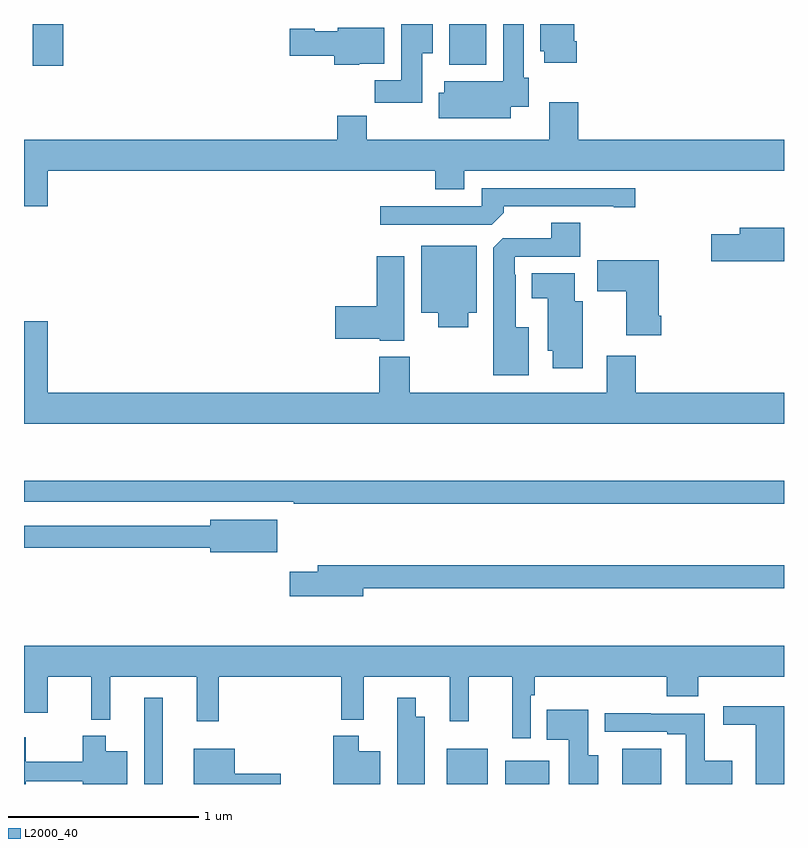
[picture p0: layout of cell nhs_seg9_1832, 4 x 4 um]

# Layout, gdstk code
import gdstk
lib = gdstk.Library(unit=1e-6, precision=1e-09)
def R(c, l, rs):  # rectangles x0, y0, x1, y1
    for r in rs: c.add(gdstk.rectangle(r[:2], r[2:], *l))
def P(c, l, *ps):  # polygons
    for p in ps: c.add(gdstk.Polygon(p, *l))
L2000_40 = (2000, 40)

nhs_seg9_1832 = lib.new_cell('nhs_seg9_1832')
R(nhs_seg9_1832, L2000_40, [(213.633,1218.5,213.73,1218.955), (215.225,1218.5,215.44,1218.685), (215.534,1218.5,215.764,1218.622), (216.149,1218.5,216.355,1218.685), (213.046,1222.281,213.206,1222.5), (215.237,1222.286,215.434,1222.5)])
P(nhs_seg9_1832, L2000_40, [(215.909,1222.408),(215.896,1222.408),(215.896,1222.5),(215.717,1222.5),(215.717,1222.356),(215.738,1222.356),(215.738,1222.296),(215.909,1222.296)],
  [(215.095,1222.345),(215.152,1222.345),(215.152,1222.5),(214.985,1222.5),(214.985,1222.204),(214.846,1222.204),(214.846,1222.086),(215.095,1222.086)],
  [(215.563,1222.064),(215.656,1222.064),(215.656,1222.218),(215.629,1222.218),(215.629,1222.5),(215.522,1222.5),(215.522,1222.198),(215.213,1222.198),(215.213,1222.139),(215.183,1222.139),(215.183,1222.004),(215.563,1222.004)],
  [(214.764,1222.292),(214.897,1222.292),(214.897,1222.48),(214.65,1222.48),(214.65,1222.462),(214.53,1222.462),(214.53,1222.475),(214.398,1222.475),(214.398,1222.333),(214.634,1222.333),(214.634,1222.286),(214.764,1222.286)],
  [(213.124,1221.728),(215.165,1221.728),(215.165,1221.629),(215.317,1221.629),(215.317,1221.728),(217,1221.728),(217,1221.892),(215.918,1221.892),(215.918,1222.087),(215.765,1222.087),(215.765,1221.892),(214.805,1221.892),(214.805,1222.016),(214.649,1222.016),(214.649,1221.892),(213,1221.892),(213,1221.54),(213.124,1221.54)],
  [(215.525,1221.506),(215.525,1221.54),(216.104,1221.54),(216.104,1221.535),(216.217,1221.535),(216.217,1221.636),(215.409,1221.636),(215.409,1221.54),(214.875,1221.54),(214.875,1221.444),(215.463,1221.444)],
  [(215.656,1220.905),(215.587,1220.905),(215.587,1221.179),(215.583,1221.179),(215.583,1221.276),(215.927,1221.276),(215.927,1221.455),(215.774,1221.455),(215.774,1221.372),(215.52,1221.372),(215.471,1221.323),(215.471,1220.651),(215.656,1220.651)],
  [(217,1221.427),(216.767,1221.427),(216.767,1221.393),(216.618,1221.393),(216.618,1221.251),(217,1221.251)],
  [(215.338,1220.981),(215.383,1220.981),(215.383,1221.334),(215.09,1221.334),(215.09,1220.981),(215.18,1220.981),(215.18,1220.903),(215.338,1220.903)],
  [(215.002,1221.277),(214.856,1221.277),(214.856,1221.014),(214.638,1221.014),(214.638,1220.843),(214.872,1220.843),(214.872,1220.834),(215.002,1220.834)],
  [(216.353,1220.965),(216.34,1220.965),(216.34,1221.256),(216.018,1221.256),(216.018,1221.094),(216.17,1221.094),(216.17,1220.861),(216.353,1220.861)],
  [(215.941,1221.04),(215.899,1221.04),(215.899,1221.187),(215.672,1221.187),(215.672,1221.056),(215.756,1221.056),(215.756,1220.781),(215.783,1220.781),(215.783,1220.688),(215.941,1220.688)],
  [(217,1220.56),(216.221,1220.56),(216.221,1220.755),(216.068,1220.755),(216.068,1220.56),(215.031,1220.56),(215.031,1220.749),(214.871,1220.749),(214.871,1220.56),(213.124,1220.56),(213.124,1220.935),(213,1220.935),(213,1220.396),(217,1220.396)],
  [(217,1220.095),(213,1220.095),(213,1219.986),(214.42,1219.986),(214.42,1219.974),(217,1219.974)],
  [(214.333,1219.891),(213.98,1219.891),(213.98,1219.86),(213,1219.86),(213,1219.744),(213.98,1219.744),(213.98,1219.721),(214.333,1219.721)],
  [(214.786,1219.53),(217,1219.53),(217,1219.651),(214.547,1219.651),(214.547,1219.617),(214.398,1219.617),(214.398,1219.487),(214.786,1219.487)],
  [(215.667,1218.968),(215.687,1218.968),(215.687,1219.064),(216.383,1219.064),(216.383,1218.962),(216.548,1218.962),(216.548,1219.064),(217,1219.064),(217,1219.228),(213,1219.228),(213,1218.876),(213.124,1218.876),(213.124,1219.064),(213.355,1219.064),(213.355,1218.839),(213.455,1218.839),(213.455,1219.064),(213.908,1219.064),(213.908,1218.831),(214.025,1218.831),(214.025,1219.064),(214.669,1219.064),(214.669,1218.839),(214.787,1218.839),(214.787,1219.064),(215.24,1219.064),(215.24,1218.831),(215.34,1218.831),(215.34,1219.064),(215.569,1219.064),(215.569,1218.741),(215.667,1218.741)],
  [(215.11,1218.853),(215.063,1218.853),(215.063,1218.955),(214.965,1218.955),(214.965,1218.5),(215.11,1218.5)],
  [(217,1218.91),(216.681,1218.91),(216.681,1218.812),(216.851,1218.812),(216.851,1218.5),(217,1218.5)],
  [(216.022,1218.651),(215.971,1218.651),(215.971,1218.892),(215.752,1218.892),(215.752,1218.734),(215.867,1218.734),(215.867,1218.5),(216.022,1218.5)],
  [(216.727,1218.622),(216.584,1218.622),(216.584,1218.87),(216.299,1218.87),(216.299,1218.872),(216.057,1218.872),(216.057,1218.774),(216.386,1218.774),(216.386,1218.762),(216.483,1218.762),(216.483,1218.5),(216.727,1218.5)],
  [(213.01,1218.514),(213.308,1218.514),(213.308,1218.5),(213.544,1218.5),(213.544,1218.673),(213.43,1218.673),(213.43,1218.754),(213.308,1218.754),(213.308,1218.617),(213.01,1218.617),(213.01,1218.745),(213,1218.745),(213,1218.5),(213.01,1218.5)],
  [(214.876,1218.673),(214.762,1218.673),(214.762,1218.754),(214.628,1218.754),(214.628,1218.5),(214.876,1218.5)],
  [(214.351,1218.554),(214.108,1218.554),(214.108,1218.685),(213.893,1218.685),(213.893,1218.5),(214.351,1218.5)])

lib.write_gds('nhs_seg9_1832.gds')
